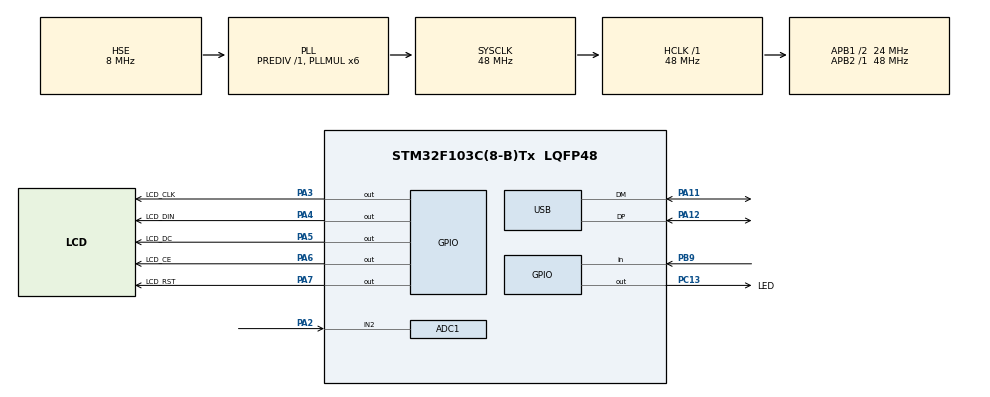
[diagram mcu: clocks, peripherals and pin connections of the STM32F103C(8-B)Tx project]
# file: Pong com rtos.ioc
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ADC1.Channel-1\#ChannelRegularConversion=ADC_CHANNEL_2
ADC1.NbrOfConversionFlag=1
ADC1.Rank-1\#ChannelRegularConversion=1
ADC1.SamplingTime-1\#ChannelRegularConversion=ADC_SAMPLETIME_239CYCLES_5
ADC1.master=1
Dma.ADC1.0.Direction=DMA_PERIPH_TO_MEMORY
Dma.ADC1.0.Instance=DMA1_Channel1
Dma.ADC1.0.MemDataAlignment=DMA_MDATAALIGN_WORD
Dma.ADC1.0.MemInc=DMA_MINC_ENABLE
Dma.ADC1.0.Mode=DMA_CIRCULAR
Dma.ADC1.0.PeriphDataAlignment=DMA_PDATAALIGN_HALFWORD
Dma.ADC1.0.PeriphInc=DMA_PINC_DISABLE
Dma.ADC1.0.Priority=DMA_PRIORITY_LOW
Dma.Request0=ADC1
FREERTOS.Tasks01=defaultTask,0,128,StartDefaultTask,Default,NULL,Dynamic,NULL,NULL
Mcu.Family=STM32F1
Mcu.Name=STM32F103C(8-B)Tx
Mcu.Package=LQFP48
NVIC.DMA1_Channel1_IRQn=true\:0\:0\:false\:false\:true\:false\:false\:true
NVIC.PriorityGroup=NVIC_PRIORITYGROUP_4
NVIC.TIM4_IRQn=true\:0\:0\:false\:false\:true\:false\:false\:true
NVIC.TimeBase=TIM4_IRQn
NVIC.TimeBaseIP=TIM4
NVIC.USB_LP_CAN1_RX0_IRQn=true\:0\:0\:false\:false\:true\:true\:false\:true
PA11.Mode=Device
PA11.Signal=USB_DM
PA12.Mode=Device
PA12.Signal=USB_DP
PA13.Mode=Serial_Wire
PA13.Signal=SYS_JTMS-SWDIO
PA14.Mode=Serial_Wire
PA14.Signal=SYS_JTCK-SWCLK
PA2.Signal=ADCx_IN2
PA3.GPIO_Label=LCD_CLK
PA3.Signal=GPIO_Output
PA4.GPIO_Label=LCD_DIN
PA4.Signal=GPIO_Output
PA5.GPIO_Label=LCD_DC
PA5.Signal=GPIO_Output
PA6.GPIO_Label=LCD_CE
PA6.Signal=GPIO_Output
PA7.GPIO_Label=LCD_RST
PA7.Signal=GPIO_Output
PB9.Signal=GPIO_Input
PC13-TAMPER-RTC.GPIO_Label=LED
PC13-TAMPER-RTC.Signal=GPIO_Output
PD0-OSC_IN.Mode=HSE-External-Oscillator
PD0-OSC_IN.Signal=RCC_OSC_IN
PD1-OSC_OUT.Mode=HSE-External-Oscillator
PD1-OSC_OUT.Signal=RCC_OSC_OUT
ProjectManager.HeapSize=0x200
ProjectManager.StackSize=0x400
ProjectManager.TargetToolchain=STM32CubeIDE
RCC.ADCPresc=RCC_ADCPCLK2_DIV4
RCC.AHBFreq_Value=48000000
RCC.APB1CLKDivider=RCC_HCLK_DIV2
RCC.APB1Freq_Value=24000000
RCC.APB1TimFreq_Value=48000000
RCC.APB2Freq_Value=48000000
RCC.APB2TimFreq_Value=48000000
RCC.HCLKFreq_Value=48000000
RCC.PLLMUL=RCC_PLL_MUL6
RCC.PLLSourceVirtual=RCC_PLLSOURCE_HSE
RCC.SYSCLKFreq_VALUE=48000000
RCC.SYSCLKSource=RCC_SYSCLKSOURCE_PLLCLK
RCC.USBFreq_Value=48000000
SH.ADCx_IN2.0=ADC1_IN2,IN2
USB_DEVICE.CLASS_NAME_FS=CDC
USB_DEVICE.VirtualMode=Cdc
USB_DEVICE.VirtualModeFS=Cdc_FS
VP_FREERTOS_VS_CMSIS_V1.Mode=CMSIS_V1
VP_SYS_VS_tim4.Mode=TIM4
VP_USB_DEVICE_VS_USB_DEVICE_CDC_FS.Mode=CDC_FS
board=custom

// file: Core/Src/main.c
/* USER CODE BEGIN Header */
/**
  ******************************************************************************
  * @file           : main.c
  * @brief          : Main program body
  ******************************************************************************
  * @attention
  *
  * <h2><center>&copy; Copyright (c) 2020 STMicroelectronics.
  * All rights reserved.</center></h2>
  *
  * This software component is licensed by ST under BSD 3-Clause license,
  * the "License"; You may not use this file except in compliance with the
  * License. You may obtain a copy of the License at:
  *                        opensource.org/licenses/BSD-3-Clause
  *
  ******************************************************************************
  */
/* USER CODE END Header */
#include "main.h"
#include "cmsis_os.h"
#include "usb_device.h"

/* USER CODE BEGIN Includes */
#include "NOKIA5110.h"
#include "pong.h"

/* USER CODE END Includes */

ADC_HandleTypeDef hadc1;
DMA_HandleTypeDef hdma_adc1;

osThreadId defaultTaskHandle;

void SystemClock_Config(void);
static void MX_GPIO_Init(void);
static void MX_DMA_Init(void);
static void MX_ADC1_Init(void);
void StartDefaultTask(void const * argument);

/* USER CODE BEGIN 0 */
static uint32_t var;
static struct pontos_t pontoa, pontob;
static struct bola_t ball;
static struct jogador_t jogadores[2];

void vTask1(void *pvParameters)
{

	while(1)
	{
		limpa_LCD();
		pontoa.x1 = (jogadores)->x;
		pontoa.y1 = (jogadores)->y - ((jogadores)->h)/2;
		pontoa.x2 = (jogadores)->x;
		pontoa.y2 = (jogadores)->y + ((jogadores)->h)/2;
		pontoa.x1 = (jogadores)->x;
		pontob.x1 = (jogadores+1)->x;
		pontob.y1 = (jogadores+1)->y - ((jogadores+1)->h)/2;
		pontob.x2 = (jogadores+1)->x;
		pontob.y2 = (jogadores+1)->y + ((jogadores+1)->h)/2;
		pontob.x1 = (jogadores+1)->x;
		desenha_linha(&pontoa, 1);
		desenha_linha(&pontob, 1);
		move_bola(&ball, jogadores);
		desenha_circulo(ball.x, ball.y, ball.m, 1);
		HAL_ADC_Start_DMA(&hadc1, &var, 1);
		move_jogador0(jogadores, var);
		move_jogador1(jogadores, &ball);
		imprime_LCD();
		HAL_Delay(60);
	}
}

/* USER CODE END 0 */

int main(void)
{

  /* MCU Configuration--------------------------------------------------------*/

  /* Reset of all peripherals, Initializes the Flash interface and the Systick. */
  HAL_Init();

  /* Configure the system clock */
  SystemClock_Config();

  /* Initialize all configured peripherals */
  MX_GPIO_Init();
  MX_DMA_Init();
  MX_ADC1_Init();
  /* USER CODE BEGIN 2 */
  (jogadores)->score = 0;
  (jogadores + 1)->score = 0;
  inic_LCD();
  HAL_Delay(1000);
  limpa_LCD();
  intro();
  init_game(&ball, jogadores, 0, 0);

  xTaskCreate(vTask1,"Tarefa 1",100, NULL, 1, NULL);
  vTaskStartScheduler();

  /* USER CODE END 2 */

  /* Create the thread(s) */
  /* definition and creation of defaultTask */
  osThreadDef(defaultTask, StartDefaultTask, osPriorityNormal, 0, 128);
  defaultTaskHandle = osThreadCreate(osThread(defaultTask), NULL);

  /* Start scheduler */
  osKernelStart();

  /* We should never get here as control is now taken by the scheduler */
  /* Infinite loop */
  while (1)
  {

  }
}

void SystemClock_Config(void)
{
  RCC_OscInitTypeDef RCC_OscInitStruct = {0};
  RCC_ClkInitTypeDef RCC_ClkInitStruct = {0};
  RCC_PeriphCLKInitTypeDef PeriphClkInit = {0};

  /** Initializes the RCC Oscillators according to the specified parameters
  * in the RCC_OscInitTypeDef structure.
  */
  RCC_OscInitStruct.OscillatorType = RCC_OSCILLATORTYPE_HSE;
  RCC_OscInitStruct.HSEState = RCC_HSE_ON;
  RCC_OscInitStruct.HSEPredivValue = RCC_HSE_PREDIV_DIV1;
  RCC_OscInitStruct.HSIState = RCC_HSI_ON;
  RCC_OscInitStruct.PLL.PLLState = RCC_PLL_ON;
  RCC_OscInitStruct.PLL.PLLSource = RCC_PLLSOURCE_HSE;
  RCC_OscInitStruct.PLL.PLLMUL = RCC_PLL_MUL6;
  if (HAL_RCC_OscConfig(&RCC_OscInitStruct) != HAL_OK)
  {
    Error_Handler();
  }
  /** Initializes the CPU, AHB and APB buses clocks
  */
  RCC_ClkInitStruct.ClockType = RCC_CLOCKTYPE_HCLK|RCC_CLOCKTYPE_SYSCLK
                              |RCC_CLOCKTYPE_PCLK1|RCC_CLOCKTYPE_PCLK2;
  RCC_ClkInitStruct.SYSCLKSource = RCC_SYSCLKSOURCE_PLLCLK;
  RCC_ClkInitStruct.AHBCLKDivider = RCC_SYSCLK_DIV1;
  RCC_ClkInitStruct.APB1CLKDivider = RCC_HCLK_DIV2;
  RCC_ClkInitStruct.APB2CLKDivider = RCC_HCLK_DIV1;

  if (HAL_RCC_ClockConfig(&RCC_ClkInitStruct, FLASH_LATENCY_1) != HAL_OK)
  {
    Error_Handler();
  }
  PeriphClkInit.PeriphClockSelection = RCC_PERIPHCLK_ADC|RCC_PERIPHCLK_USB;
  PeriphClkInit.AdcClockSelection = RCC_ADCPCLK2_DIV4;
  PeriphClkInit.UsbClockSelection = RCC_USBCLKSOURCE_PLL;
  if (HAL_RCCEx_PeriphCLKConfig(&PeriphClkInit) != HAL_OK)
  {
    Error_Handler();
  }
}

static void MX_ADC1_Init(void)
{

  ADC_ChannelConfTypeDef sConfig = {0};

  /** Common config
  */
  hadc1.Instance = ADC1;
  hadc1.Init.ScanConvMode = ADC_SCAN_DISABLE;
  hadc1.Init.ContinuousConvMode = DISABLE;
  hadc1.Init.DiscontinuousConvMode = DISABLE;
  hadc1.Init.ExternalTrigConv = ADC_SOFTWARE_START;
  hadc1.Init.DataAlign = ADC_DATAALIGN_RIGHT;
  hadc1.Init.NbrOfConversion = 1;
  if (HAL_ADC_Init(&hadc1) != HAL_OK)
  {
    Error_Handler();
  }
  /** Configure Regular Channel
  */
  sConfig.Channel = ADC_CHANNEL_2;
  sConfig.Rank = ADC_REGULAR_RANK_1;
  sConfig.SamplingTime = ADC_SAMPLETIME_239CYCLES_5;
  if (HAL_ADC_ConfigChannel(&hadc1, &sConfig) != HAL_OK)
  {
    Error_Handler();
  }

}

static void MX_DMA_Init(void)
{

  /* DMA controller clock enable */
  __HAL_RCC_DMA1_CLK_ENABLE();

  /* DMA interrupt init */
  /* DMA1_Channel1_IRQn interrupt configuration */
  HAL_NVIC_SetPriority(DMA1_Channel1_IRQn, 0, 0);
  HAL_NVIC_EnableIRQ(DMA1_Channel1_IRQn);

}

static void MX_GPIO_Init(void)
{
  GPIO_InitTypeDef GPIO_InitStruct = {0};

  /* GPIO Ports Clock Enable */
  __HAL_RCC_GPIOC_CLK_ENABLE();
  __HAL_RCC_GPIOD_CLK_ENABLE();
  __HAL_RCC_GPIOA_CLK_ENABLE();
  __HAL_RCC_GPIOB_CLK_ENABLE();

  /*Configure GPIO pin Output Level */
  HAL_GPIO_WritePin(LED_GPIO_Port, LED_Pin, GPIO_PIN_RESET);

  /*Configure GPIO pin Output Level */
  HAL_GPIO_WritePin(GPIOA, LCD_CLK_Pin|LCD_DIN_Pin|LCD_DC_Pin|LCD_CE_Pin
                          |LCD_RST_Pin, GPIO_PIN_RESET);

  /*Configure GPIO pin : LED_Pin */
  GPIO_InitStruct.Pin = LED_Pin;
  GPIO_InitStruct.Mode = GPIO_MODE_OUTPUT_PP;
  GPIO_InitStruct.Pull = GPIO_NOPULL;
  GPIO_InitStruct.Speed = GPIO_SPEED_FREQ_LOW;
  HAL_GPIO_Init(LED_GPIO_Port, &GPIO_InitStruct);

  /*Configure GPIO pins : LCD_CLK_Pin LCD_DIN_Pin LCD_DC_Pin LCD_CE_Pin
                           LCD_RST_Pin */
  GPIO_InitStruct.Pin = LCD_CLK_Pin|LCD_DIN_Pin|LCD_DC_Pin|LCD_CE_Pin
                          |LCD_RST_Pin;
  GPIO_InitStruct.Mode = GPIO_MODE_OUTPUT_PP;
  GPIO_InitStruct.Pull = GPIO_NOPULL;
  GPIO_InitStruct.Speed = GPIO_SPEED_FREQ_LOW;
  HAL_GPIO_Init(GPIOA, &GPIO_InitStruct);

  /*Configure GPIO pin : PB9 */
  GPIO_InitStruct.Pin = GPIO_PIN_9;
  GPIO_InitStruct.Mode = GPIO_MODE_INPUT;
  GPIO_InitStruct.Pull = GPIO_NOPULL;
  HAL_GPIO_Init(GPIOB, &GPIO_InitStruct);

}

void StartDefaultTask(void const * argument)
{
  /* init code for USB_DEVICE */
  MX_USB_DEVICE_Init();
  for(;;)
  {
    osDelay(1);
  }
}

void HAL_TIM_PeriodElapsedCallback(TIM_HandleTypeDef *htim)
{
  if (htim->Instance == TIM4) {
    HAL_IncTick();
  }
}

void Error_Handler(void)
{
}

/************************ (C) COPYRIGHT STMicroelectronics *****END OF FILE****/
